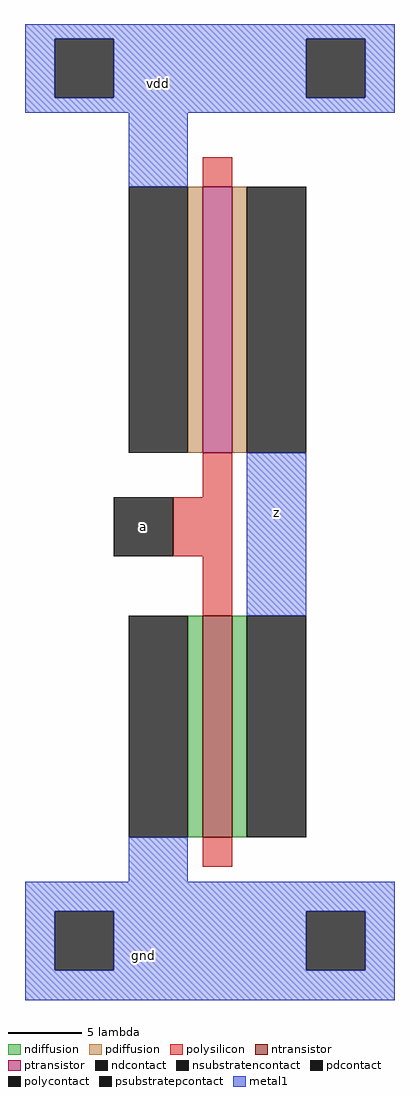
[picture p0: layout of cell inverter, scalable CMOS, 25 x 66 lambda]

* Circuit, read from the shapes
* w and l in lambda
.subckt inverter a gnd vdd z
M1 z a gnd gnd nfet w=15 l=2
M2 z a vdd vdd pfet w=18 l=2
.ends

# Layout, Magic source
magic
tech scmos
<< polysilicon >>
rect -3 13 -1 15
rect -3 -8 -1 -5
rect -5 -12 -1 -8
rect -3 -16 -1 -12
rect -3 -33 -1 -31
<< ndiffusion >>
rect -4 -31 -3 -16
rect -1 -31 0 -16
<< pdiffusion >>
rect -4 -5 -3 13
rect -1 -5 0 13
<< metal1 >>
rect -15 23 10 24
rect -15 19 -13 23
rect -9 19 4 23
rect 8 19 10 23
rect -15 18 10 19
rect -8 13 -4 18
rect 0 -16 4 -5
rect -8 -34 -4 -31
rect -15 -36 10 -34
rect -15 -40 -13 -36
rect -9 -40 4 -36
rect 8 -40 10 -36
rect -15 -42 10 -40
<< ntransistor >>
rect -3 -31 -1 -16
<< ptransistor >>
rect -3 -5 -1 13
<< polycontact >>
rect -9 -12 -5 -8
<< ndcontact >>
rect -8 -31 -4 -16
rect 0 -31 4 -16
<< pdcontact >>
rect -8 -5 -4 13
rect 0 -5 4 13
<< psubstratepcontact >>
rect -13 -40 -9 -36
rect 4 -40 8 -36
<< nsubstratencontact >>
rect -13 19 -9 23
rect 4 19 8 23
<< labels >>
rlabel metal1 -6 20 -6 20 5 vdd
rlabel metal1 -7 -39 -7 -39 1 gnd
rlabel metal1 2 -9 2 -9 1 z
rlabel polycontact -7 -10 -7 -10 1 a
<< end >>
